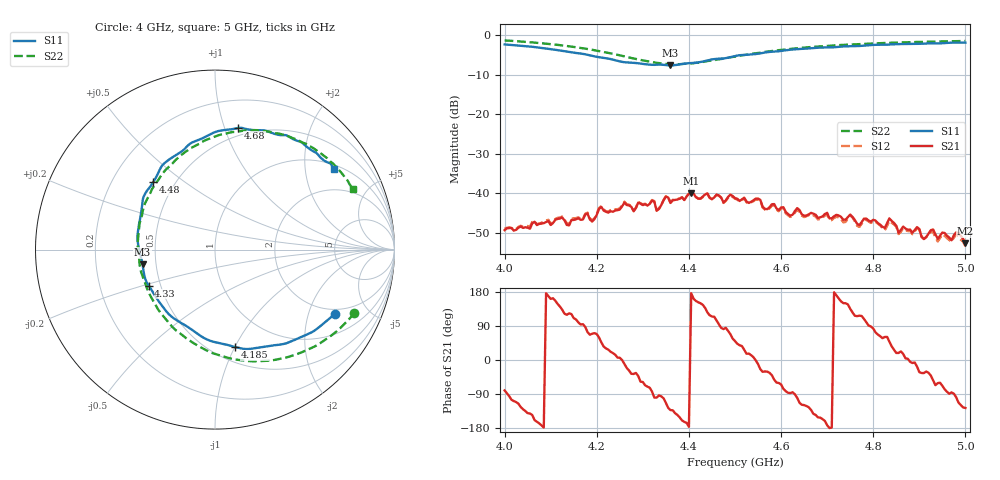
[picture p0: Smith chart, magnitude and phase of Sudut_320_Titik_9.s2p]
# Hz S RI R 50
! CMT, C1220, 16058040, 17.2.0/1
! Date: 15/08/2018 11:36:44
! Data: Format (Calibration Info)
! Freq  S11: Re/Im (F2)  S21: Re/Im (F2)  S12: Re/Im (F2)  S22: Re/Im (F2)
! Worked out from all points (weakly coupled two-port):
!   201 points, 4 GHz to 5 GHz, reference 50 ohm
!   highest |S21| = -39.99 dB at 4.405 GHz (marker M1); lowest = -52.7 dB at 5 GHz (marker M2)
!   lowest |S11| = -7.7 dB at 4.36 GHz (marker M3), VSWR 2.40, Z = 21 - j4.16 ohm
!   |S11| at or under -10 dB: nowhere
!   |S22| runs from -7.4 to -1.4 dB; largest |S21 - S12| = 0.00035
!   S11 on the Smith chart (normalised r, x): 4 GHz: 1.80, -3.02; 4.185 GHz: 0.64, -1.00; 4.33 GHz: 0.43, -0.21; 4.48 GHz: 0.38, +0.38; 4.68 GHz: 0.43, +1.12; 5 GHz: 1.14, +2.83
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4e9  0.6693 -0.356  0.000575 -0.00337  0.00073 -0.0035  0.7755 -0.3522
4.17e9  0.1636 -0.5535  -0.000363 0.00465  -0.000386 0.00474  0.276 -0.6202
4.185e9  0.1106 -0.5425  0.00185 0.00429  0.00183 0.00448  0.2116 -0.6223
4.26e9  -0.1715 -0.4186  0.00746 -0.00136  0.00768 -0.00143  -0.1172 -0.5226
4.28e9  -0.2452 -0.371  0.00474 -0.00355  0.00477 -0.00374  -0.1977 -0.4641
4.32e9  -0.3481 -0.2344  0.0009 -0.008  0.000848 -0.00818  -0.3301 -0.3108
4.33e9  -0.3694 -0.2008  -0.000964 -0.00594  -0.00105 -0.00597  -0.3537 -0.269
4.335e9  -0.3798 -0.1836  -0.000399 -0.00632  -0.000505 -0.0064  -0.3659 -0.2458
4.35e9  -0.3974 -0.1245  -0.00358 -0.00838  -0.00367 -0.00837  -0.3942 -0.1724
4.36e9  -0.4036 -0.0821  -0.00507 -0.00558  -0.00518 -0.00561  -0.4115 -0.126
4.405e9  -0.4293 0.1013  -0.00999 0.000673  -0.01 0.000865  -0.4251 0.0962
4.48e9  -0.3452 0.3745  0.000729 0.00811  0.000912 0.00796  -0.302 0.4097
4.5e9  -0.3077 0.4456  0.00559 0.00665  0.00555 0.00649  -0.2472 0.471
4.67e9  0.1113 0.6738  -0.00435 -0.00341  -0.00421 -0.00318  0.2469 0.6631
4.68e9  0.1307 0.6782  -0.0043 -0.00234  -0.00414 -0.00216  0.2708 0.6599
4.75e9  0.2866 0.661  -0.00382 0.0038  -0.0038 0.0036  0.4311 0.6213
4.825e9  0.4253 0.6207  0.00178 0.00318  0.00172 0.00294  0.5661 0.5523
4.835e9  0.4442 0.6113  0.0032 0.00359  0.00291 0.0034  0.5809 0.5417
4.855e9  0.4762 0.6005  0.00302 0.00102  0.0029 0.000972  0.6109 0.5194
4.97e9  0.6387 0.4823  0.000196 -0.00254  0.000176 -0.00243  0.7418 0.3794
4.98e9  0.6456 0.4768  -0.000468 -0.00317  -0.000406 -0.00296  0.7491 0.3653
5e9  0.6607 0.4495  -0.00139 -0.00187  -0.00122 -0.00176  0.7674 0.3387
